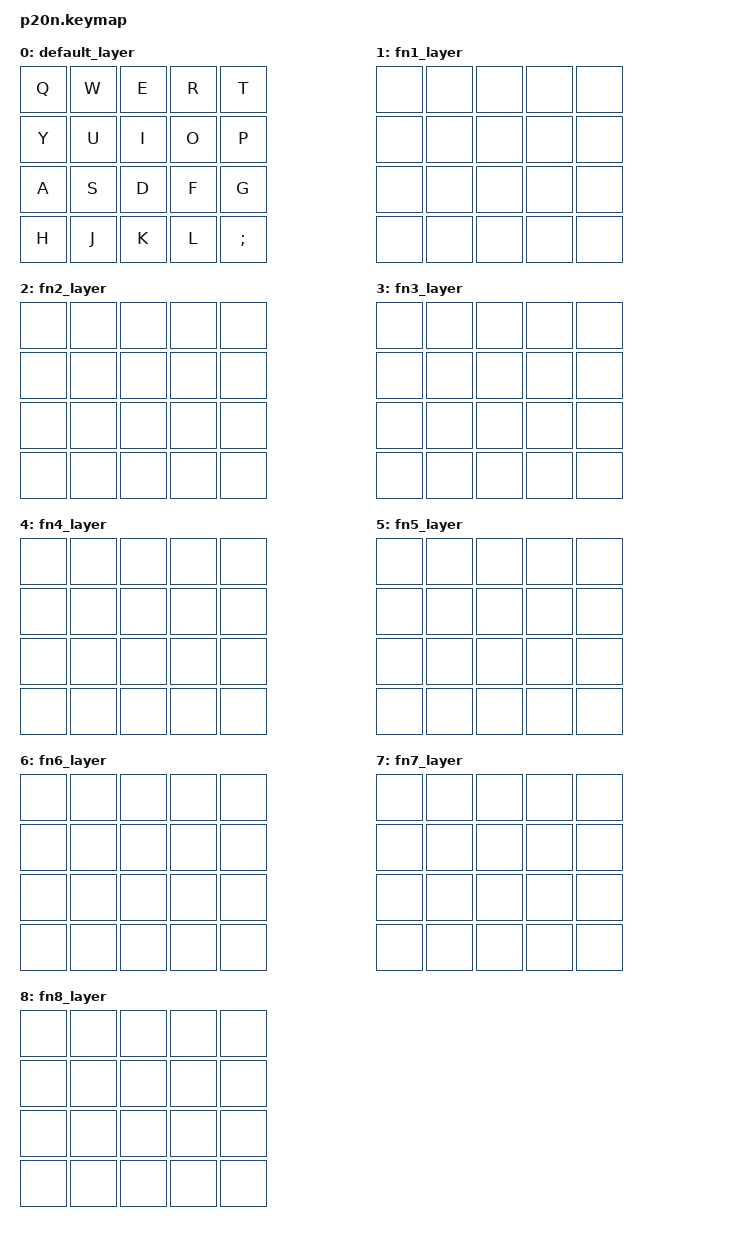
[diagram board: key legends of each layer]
/*
 * Copyright (c) 2020 The ZMK Contributors
 *
 * SPDX-License-Identifier: MIT
 */

#include <behaviors.dtsi>
#include <dt-bindings/zmk/keys.h>
#include <dt-bindings/zmk/rgb.h>
#include <dt-bindings/zmk/bt.h>
#include <dt-bindings/zmk/outputs.h>
#include <dt-bindings/zmk/ext_power.h>
#include <dt-bindings/zmk/mouse.h>

/ {
      macros {
        xtips: xtips {
            compatible = "zmk,behavior-macro";
            label = "XTIPS";
            #binding-cells = <0>;
            bindings = <&kp LS(X) &kp KP_DOT &kp LS(T) &kp I &kp P &kp S>;
            wait-ms = <1>;
            tap-ms = <1>;
        };
      };

	keymap0: keymap {
		compatible = "zmk,keymap";

		default_layer {
            bindings = <
            &kp Q      &kp W        &kp E         &kp R        &kp T               
            &kp Y      &kp U        &kp I         &kp O        &kp P    
            &kp A      &kp S        &kp D         &kp F        &kp G               
            &kp H      &kp J        &kp K         &kp L        &kp SEMI
            >;
		};

		fn1_layer {
            bindings = <
            &none   &none   &none   &none    &none  
            &none   &none   &none   &none    &none  
            &none   &none   &none   &none    &none  
            &none   &none   &none   &none    &none      
             >;
		};

		fn2_layer {
            bindings = <
            &none   &none   &none   &none    &none  
            &none   &none   &none   &none    &none  
            &none   &none   &none   &none    &none  
            &none   &none   &none   &none    &none      
            >;
		};

		fn3_layer {
            bindings = <
            &none   &none   &none   &none    &none  
            &none   &none   &none   &none    &none  
            &none   &none   &none   &none    &none  
            &none   &none   &none   &none    &none      
            >;
		};
		
		fn4_layer {
            bindings = <
            &none   &none   &none   &none    &none  
            &none   &none   &none   &none    &none  
            &none   &none   &none   &none    &none  
            &none   &none   &none   &none    &none      
            >;
		};

		fn5_layer {
            bindings = <
            &none   &none   &none   &none    &none  
            &none   &none   &none   &none    &none  
            &none   &none   &none   &none    &none  
            &none   &none   &none   &none    &none      
            >;
		};
		
		fn6_layer {
            bindings = <
            &none   &none   &none   &none    &none  
            &none   &none   &none   &none    &none  
            &none   &none   &none   &none    &none  
            &none   &none   &none   &none    &none      
            >;
		};
		
		fn7_layer {
            bindings = <
            &none   &none   &none   &none    &none  
            &none   &none   &none   &none    &none  
            &none   &none   &none   &none    &none  
            &none   &none   &none   &none    &none      
            >;
		};
		
		fn8_layer {
            bindings = <
            &none   &none   &none   &none    &none  
            &none   &none   &none   &none    &none  
            &none   &none   &none   &none    &none  
            &none   &none   &none   &none    &none      
            >;
		};
	};
};
